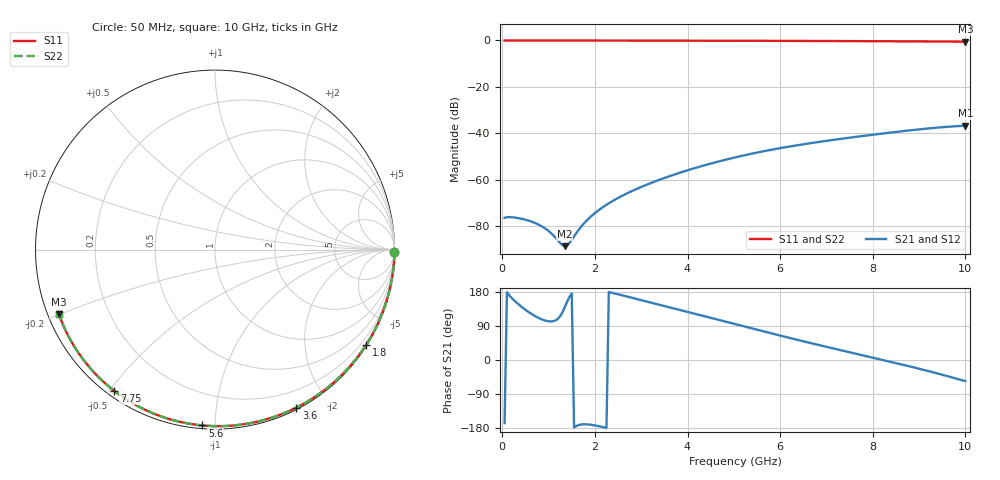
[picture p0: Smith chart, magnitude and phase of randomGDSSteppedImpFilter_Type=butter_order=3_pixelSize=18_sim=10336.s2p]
! freq	dB(S11)	phase(S11)	dB(S12)	phase(S12)
!  dB(S21)	phase(S21)	dB(S22)	phase(S22)
!S-par simulation data
#  GHz  S  DB  R 50
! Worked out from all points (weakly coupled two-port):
!   200 points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, 50 MHz to 10 GHz, reference 50 ohm
!   highest |S21| = -36.71 dB at 10 GHz (marker M1); lowest = -88.6 dB at 1.35 GHz (marker M2)
!   lowest |S11| = -0.5 dB at 10 GHz (marker M3), VSWR 33.07, Z = 1.57 - j9.92 ohm
!   |S11| at or under -10 dB: nowhere
!   |S22| runs from -0.5 to 0.0 dB; largest |S21 - S12| = 0
!   S11 on the Smith chart (normalised r, x): 50 MHz: open; 1.8 GHz: 0.03, -3.46; 3.6 GHz: 0.02, -1.64; 5.6 GHz: 0.02, -0.93; 7.75 GHz: 0.02, -0.52; 10 GHz: 0.03, -0.20
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0.05  -0.00 -0.9  -76.43 -166.6  -76.43 -166.6  -0.00 -0.9
0.2  -0.00 -3.6  -76.17 163.9  -76.17 163.9  -0.00 -3.6
0.45  -0.01 -8.2  -76.98 137.0  -76.98 137.0  -0.01 -8.2
0.65  -0.01 -11.8  -78.19 120.0  -78.19 120.0  -0.01 -11.8
0.85  -0.02 -15.4  -80.07 107.3  -80.07 107.3  -0.02 -15.4
1.35  -0.03 -24.3  -88.65 139.4  -88.65 139.4  -0.03 -24.3
1.7  -0.04 -30.5  -80.31 -170.2  -80.31 -170.2  -0.04 -30.5
1.75  -0.04 -31.4  -79.14 -169.6  -79.14 -169.6  -0.04 -31.4
1.8  -0.04 -32.2  -78.05 -169.6  -78.05 -169.6  -0.04 -32.2
2.05  -0.05 -36.6  -73.59 -173.7  -73.59 -173.7  -0.05 -36.6
2.4  -0.05 -42.7  -68.98 176.5  -68.98 176.5  -0.05 -42.6
2.85  -0.07 -50.3  -64.43 162.6  -64.43 162.6  -0.07 -50.3
3.4  -0.08 -59.5  -59.98 145.6  -59.98 145.6  -0.08 -59.5
3.6  -0.08 -62.8  -58.56 139.4  -58.56 139.4  -0.08 -62.8
4.3  -0.11 -74.1  -54.17 117.7  -54.17 117.7  -0.11 -74.1
5.05  -0.13 -85.8  -50.29 94.1  -50.29 94.1  -0.13 -85.8
5.6  -0.16 -94.1  -47.92 76.8  -47.92 76.8  -0.16 -94.1
6.7  -0.22 -110.4  -44.13 43.4  -44.13 43.4  -0.22 -110.4
7.75  -0.29 -125.4  -41.25 13.4  -41.25 13.4  -0.29 -125.4
8.35  -0.35 -133.9  -39.77 -3.6  -39.77 -3.6  -0.35 -133.9
9.2  -0.43 -146.0  -37.92 -29.2  -37.92 -29.2  -0.43 -146.0
10  -0.53 -157.5  -36.71 -55.8  -36.71 -55.8  -0.53 -157.5
